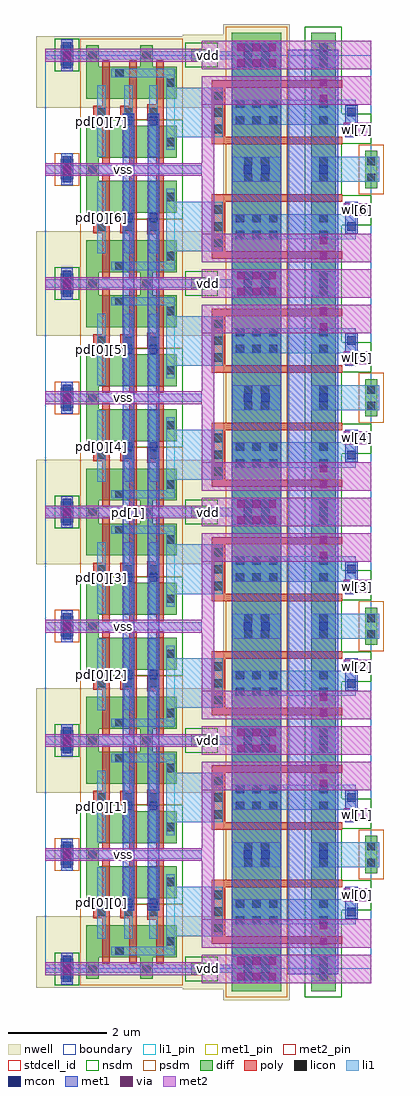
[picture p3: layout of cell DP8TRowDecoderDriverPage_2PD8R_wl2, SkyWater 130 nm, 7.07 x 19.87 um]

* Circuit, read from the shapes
.subckt DP8TRowDecoderDriverPage_2PD8R_wl2 pd[0][0] pd[0][1] pd[0][2] pd[0][3] pd[0][4] pd[0][5] pd[0][6] pd[0][7] pd[1] vdd vss wl[0] wl[1] wl[2] wl[3] wl[4] wl[5] wl[6] wl[7] wl_en
XM1 n1 pd[0][0] vss VSUBS sky130_fd_pr__nfet_01v8 w=0.65 l=0.15
XM2 n2 pd[0][1] vss VSUBS sky130_fd_pr__nfet_01v8 w=0.65 l=0.15
XM3 n3 pd[0][2] vss VSUBS sky130_fd_pr__nfet_01v8 w=0.65 l=0.15
XM4 n4 pd[0][3] vss VSUBS sky130_fd_pr__nfet_01v8 w=0.65 l=0.15
XM5 n5 pd[0][4] vss VSUBS sky130_fd_pr__nfet_01v8 w=0.65 l=0.15
XM6 n6 pd[0][5] vss VSUBS sky130_fd_pr__nfet_01v8 w=0.65 l=0.15
XM7 n7 pd[0][6] vss VSUBS sky130_fd_pr__nfet_01v8 w=0.65 l=0.15
XM8 n8 pd[0][7] vss VSUBS sky130_fd_pr__nfet_01v8 w=0.65 l=0.15
XM9 n9 pd[1] n1 VSUBS sky130_fd_pr__nfet_01v8 w=0.65 l=0.15
XM10 n10 pd[1] n2 VSUBS sky130_fd_pr__nfet_01v8 w=0.65 l=0.15
XM11 n11 pd[1] n3 VSUBS sky130_fd_pr__nfet_01v8 w=0.65 l=0.15
XM12 n12 pd[1] n4 VSUBS sky130_fd_pr__nfet_01v8 w=0.65 l=0.15
XM13 n13 pd[1] n5 VSUBS sky130_fd_pr__nfet_01v8 w=0.65 l=0.15
XM14 n14 pd[1] n6 VSUBS sky130_fd_pr__nfet_01v8 w=0.65 l=0.15
XM15 n15 pd[1] n7 VSUBS sky130_fd_pr__nfet_01v8 w=0.65 l=0.15
XM16 n16 pd[1] n8 VSUBS sky130_fd_pr__nfet_01v8 w=0.65 l=0.15
XM17 DP8TRowDecoderNand3_0/wl_n wl_en n9 VSUBS sky130_fd_pr__nfet_01v8 w=0.65 l=0.15
XM18 DP8TRowDecoderNand3_2/wl_n wl_en n10 VSUBS sky130_fd_pr__nfet_01v8 w=0.65 l=0.15
XM19 DP8TRowDecoderNand3_4/wl_n wl_en n11 VSUBS sky130_fd_pr__nfet_01v8 w=0.65 l=0.15
XM20 DP8TRowDecoderNand3_6/wl_n wl_en n12 VSUBS sky130_fd_pr__nfet_01v8 w=0.65 l=0.15
XM21 DP8TRowDecoderNand3_8/wl_n wl_en n13 VSUBS sky130_fd_pr__nfet_01v8 w=0.65 l=0.15
XM22 DP8TRowDecoderNand3_10/wl_n wl_en n14 VSUBS sky130_fd_pr__nfet_01v8 w=0.65 l=0.15
XM23 DP8TRowDecoderNand3_12/wl_n wl_en n15 VSUBS sky130_fd_pr__nfet_01v8 w=0.65 l=0.15
XM24 DP8TRowDecoderNand3_14/wl_n wl_en n16 VSUBS sky130_fd_pr__nfet_01v8 w=0.65 l=0.15
XM25 wl[0] DP8TRowDecoderNand3_0/wl_n vss VSUBS sky130_fd_pr__nfet_01v8 w=0.5 l=0.15 m=2
XM26 wl[1] DP8TRowDecoderNand3_2/wl_n vss VSUBS sky130_fd_pr__nfet_01v8 w=0.5 l=0.15 m=2
XM27 wl[2] DP8TRowDecoderNand3_4/wl_n vss VSUBS sky130_fd_pr__nfet_01v8 w=0.5 l=0.15 m=2
XM28 wl[3] DP8TRowDecoderNand3_6/wl_n vss VSUBS sky130_fd_pr__nfet_01v8 w=0.5 l=0.15 m=2
XM29 wl[4] DP8TRowDecoderNand3_8/wl_n vss VSUBS sky130_fd_pr__nfet_01v8 w=0.5 l=0.15 m=2
XM30 wl[5] DP8TRowDecoderNand3_10/wl_n vss VSUBS sky130_fd_pr__nfet_01v8 w=0.5 l=0.15 m=2
XM31 wl[6] DP8TRowDecoderNand3_12/wl_n vss VSUBS sky130_fd_pr__nfet_01v8 w=0.5 l=0.15 m=2
XM32 wl[7] DP8TRowDecoderNand3_14/wl_n vss VSUBS sky130_fd_pr__nfet_01v8 w=0.5 l=0.15 m=2
XM33 DP8TRowDecoderNand3_0/wl_n pd[0][0] vdd n17 sky130_fd_pr__pfet_01v8 w=0.65 l=0.15
XM34 DP8TRowDecoderNand3_2/wl_n pd[0][1] vdd n17 sky130_fd_pr__pfet_01v8 w=0.65 l=0.15
XM35 DP8TRowDecoderNand3_4/wl_n pd[0][2] vdd n17 sky130_fd_pr__pfet_01v8 w=0.65 l=0.15
XM36 DP8TRowDecoderNand3_6/wl_n pd[0][3] vdd n17 sky130_fd_pr__pfet_01v8 w=0.65 l=0.15
XM37 DP8TRowDecoderNand3_8/wl_n pd[0][4] vdd n17 sky130_fd_pr__pfet_01v8 w=0.65 l=0.15
XM38 DP8TRowDecoderNand3_10/wl_n pd[0][5] vdd n17 sky130_fd_pr__pfet_01v8 w=0.65 l=0.15
XM39 DP8TRowDecoderNand3_12/wl_n pd[0][6] vdd n17 sky130_fd_pr__pfet_01v8 w=0.65 l=0.15
XM40 DP8TRowDecoderNand3_14/wl_n pd[0][7] vdd n17 sky130_fd_pr__pfet_01v8 w=0.65 l=0.15
XM41 vdd pd[1] DP8TRowDecoderNand3_0/wl_n n17 sky130_fd_pr__pfet_01v8 w=0.65 l=0.15
XM42 vdd pd[1] DP8TRowDecoderNand3_2/wl_n n17 sky130_fd_pr__pfet_01v8 w=0.65 l=0.15
XM43 vdd pd[1] DP8TRowDecoderNand3_4/wl_n n17 sky130_fd_pr__pfet_01v8 w=0.65 l=0.15
XM44 vdd pd[1] DP8TRowDecoderNand3_6/wl_n n17 sky130_fd_pr__pfet_01v8 w=0.65 l=0.15
XM45 vdd pd[1] DP8TRowDecoderNand3_8/wl_n n17 sky130_fd_pr__pfet_01v8 w=0.65 l=0.15
XM46 vdd pd[1] DP8TRowDecoderNand3_10/wl_n n17 sky130_fd_pr__pfet_01v8 w=0.65 l=0.15
XM47 vdd pd[1] DP8TRowDecoderNand3_12/wl_n n17 sky130_fd_pr__pfet_01v8 w=0.65 l=0.15
XM48 vdd pd[1] DP8TRowDecoderNand3_14/wl_n n17 sky130_fd_pr__pfet_01v8 w=0.65 l=0.15
XM49 DP8TRowDecoderNand3_0/wl_n wl_en vdd n17 sky130_fd_pr__pfet_01v8 w=0.65 l=0.15
XM50 DP8TRowDecoderNand3_2/wl_n wl_en vdd n17 sky130_fd_pr__pfet_01v8 w=0.65 l=0.15
XM51 DP8TRowDecoderNand3_4/wl_n wl_en vdd n17 sky130_fd_pr__pfet_01v8 w=0.65 l=0.15
XM52 DP8TRowDecoderNand3_6/wl_n wl_en vdd n17 sky130_fd_pr__pfet_01v8 w=0.65 l=0.15
XM53 DP8TRowDecoderNand3_8/wl_n wl_en vdd n17 sky130_fd_pr__pfet_01v8 w=0.65 l=0.15
XM54 DP8TRowDecoderNand3_10/wl_n wl_en vdd n17 sky130_fd_pr__pfet_01v8 w=0.65 l=0.15
XM55 DP8TRowDecoderNand3_12/wl_n wl_en vdd n17 sky130_fd_pr__pfet_01v8 w=0.65 l=0.15
XM56 DP8TRowDecoderNand3_14/wl_n wl_en vdd n17 sky130_fd_pr__pfet_01v8 w=0.65 l=0.15
XM57 wl[0] DP8TRowDecoderNand3_0/wl_n vdd n17 sky130_fd_pr__pfet_01v8 w=1 l=0.15 m=2
XM58 wl[1] DP8TRowDecoderNand3_2/wl_n vdd n17 sky130_fd_pr__pfet_01v8 w=1 l=0.15 m=2
XM59 wl[2] DP8TRowDecoderNand3_4/wl_n vdd n17 sky130_fd_pr__pfet_01v8 w=1 l=0.15 m=2
XM60 wl[3] DP8TRowDecoderNand3_6/wl_n vdd n17 sky130_fd_pr__pfet_01v8 w=1 l=0.15 m=2
XM61 wl[4] DP8TRowDecoderNand3_8/wl_n vdd n17 sky130_fd_pr__pfet_01v8 w=1 l=0.15 m=2
XM62 wl[5] DP8TRowDecoderNand3_10/wl_n vdd n17 sky130_fd_pr__pfet_01v8 w=1 l=0.15 m=2
XM63 wl[6] DP8TRowDecoderNand3_12/wl_n vdd n17 sky130_fd_pr__pfet_01v8 w=1 l=0.15 m=2
XM64 wl[7] DP8TRowDecoderNand3_14/wl_n vdd n17 sky130_fd_pr__pfet_01v8 w=1 l=0.15 m=2
.ends

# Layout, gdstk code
import gdstk
lib = gdstk.Library(unit=1e-6, precision=1e-09)
def R(c, l, rs):  # rectangles x0, y0, x1, y1
    for r in rs: c.add(gdstk.rectangle(r[:2], r[2:], *l))
def A(c, l, x, y, w, h, nx, ny, dx, dy):  # array of equal rectangles
    R(c, l, [(x+i*dx, y+j*dy, x+i*dx+w, y+j*dy+h) for i in range(nx) for j in range(ny)])
def P(c, l, *ps):  # polygons
    for p in ps: c.add(gdstk.Polygon(p, *l))
nwell = (64, 20)
diff = (65, 20)
poly = (66, 20)
licon = (66, 44)
li1_pin = (67, 16)
li1 = (67, 20)
mcon = (67, 44)
met1_pin = (68, 16)
met1 = (68, 20)
via = (68, 44)
met2_pin = (69, 16)
met2 = (69, 20)
stdcell_id = (81, 4)
nsdm = (93, 44)
psdm = (94, 20)
boundary = (235, 4)

dp8trowdecodernand3 = lib.new_cell('DP8TRowDecoderNand3')
R(dp8trowdecodernand3, nwell, [(-0.18,1.26,4.02,2.71)])
R(dp8trowdecodernand3, diff, [(0.315,-0.205,0.565,0.205), (0.315,2.12,0.565,2.53)])
P(dp8trowdecodernand3, diff, [(0.835,-0.205),(0.835,0.885),(2.675,0.885),(2.675,0.235),(1.085,0.235),(1.085,-0.205)],
  [(0.835,1.44),(0.835,2.53),(1.085,2.53),(1.085,2.09),(1.935,2.09),(1.935,2.53),(2.185,2.53),(2.185,2.09),(2.675,2.09),(2.675,1.44)])
P(dp8trowdecodernand3, poly, [(1.16,0.105),(1.16,1.025),(0.98,1.025),(0.98,1.295),(1.16,1.295),(1.16,2.22),(1.31,2.22),(1.31,0.105)],
  [(1.71,0.105),(1.71,1.025),(1.53,1.025),(1.53,1.295),(1.71,1.295),(1.71,2.22),(1.86,2.22),(1.86,0.105)],
  [(2.26,0.105),(2.26,0.995),(2.07,0.995),(2.07,1.325),(2.26,1.325),(2.26,2.22),(2.41,2.22),(2.41,0.105)])
R(dp8trowdecodernand3, licon, [(0.355,-0.085,0.525,0.085), (0.875,-0.085,1.045,0.085), (2.465,0.475,2.635,0.645), (1.06,1.075,1.23,1.245), (1.61,1.075,1.78,1.245), (2.12,1.075,2.29,1.245), (2.465,1.68,2.635,1.85), (1.425,1.88,1.595,2.05), (0.355,2.24,0.525,2.41), (0.875,2.24,1.045,2.41), (1.975,2.24,2.145,2.41)])
R(dp8trowdecodernand3, li1_pin, [(1.06,0.255,1.23,1.71), (1.61,0.255,1.78,1.71), (2.12,0.255,2.29,1.71), (2.465,0.395,2.635,1.93)])
R(dp8trowdecodernand3, li1, [(1.06,0.255,1.23,1.71), (1.61,0.255,1.78,1.71), (2.12,0.255,2.29,1.71)])
P(dp8trowdecodernand3, li1, [(0.355,-0.265),(0.355,-0.085),(0,-0.085),(0,0.085),(0.355,0.085),(0.355,0.265),(0.525,0.265),(0.525,0.085),(3.18,0.085),(3.18,-0.085),(0.525,-0.085),(0.525,-0.265)],
  [(0.355,2.06),(0.355,2.24),(0,2.24),(0,2.41),(0.355,2.41),(0.355,2.59),(0.525,2.59),(0.525,2.41),(3.18,2.41),(3.18,2.24),(0.525,2.24),(0.525,2.06)],
  [(2.465,0.395),(2.465,1.88),(1.345,1.88),(1.345,2.05),(2.635,2.05),(2.635,0.395)])
R(dp8trowdecodernand3, mcon, [(0.355,-0.265,0.525,-0.095), (0.355,0.095,0.525,0.265), (0.355,2.06,0.525,2.23), (0.355,2.42,0.525,2.59)])
P(dp8trowdecodernand3, met1, [(0.325,-0.325),(0.325,-0.16),(0.31,-0.16),(0.31,0.16),(0.325,0.16),(0.325,0.325),(0.555,0.325),(0.555,0.16),(0.57,0.16),(0.57,-0.16),(0.555,-0.16),(0.555,-0.325)],
  [(0.325,2),(0.325,2.165),(0.31,2.165),(0.31,2.485),(0.325,2.485),(0.325,2.65),(0.555,2.65),(0.555,2.485),(0.57,2.485),(0.57,2.165),(0.555,2.165),(0.555,2)])
R(dp8trowdecodernand3, via, [(0.365,-0.075,0.515,0.075), (0.365,2.25,0.515,2.4)])
R(dp8trowdecodernand3, met2_pin, [(0,-0.13,3.18,0.13), (0,2.195,3.18,2.455)])
R(dp8trowdecodernand3, met2, [(0,-0.13,3.18,0.13), (0,2.195,3.18,2.455)])
A(dp8trowdecodernand3, stdcell_id, 1.155, 0.23, 0.16, 0.66, 3, 1, 0.55, 0)
R(dp8trowdecodernand3, nsdm, [(0.71,-0.33,2.8,1.01), (0.19,1.995,0.69,2.655)])
R(dp8trowdecodernand3, psdm, [(0.19,-0.33,0.69,0.33), (0.71,1.01,2.8,2.655)])
R(dp8trowdecodernand3, boundary, [(0,0,3.18,2.325)])
dp8trowdecodernand3.add(gdstk.Label('vss', (1.59,0), layer=69, texttype=16))
dp8trowdecodernand3.add(gdstk.Label('vdd', (1.59,2.325), layer=69, texttype=16))
dp8trowdecodernand3.add(gdstk.Label('pd[0]', (1.145,0.983), layer=67, texttype=16))
dp8trowdecodernand3.add(gdstk.Label('wl_n', (2.55,1.163), layer=67, texttype=16))
dp8trowdecodernand3.add(gdstk.Label('pd[1]', (1.695,0.983), layer=67, texttype=16))
dp8trowdecodernand3.add(gdstk.Label('wl_en', (2.205,0.983), layer=67, texttype=16))

dp8twldrive_30ln100wn30l = lib.new_cell('DP8TWLDrive_30LN100WN30LP200WP_wl2')
P(dp8twldrive_30ln100wn30l, nwell, [(-3.015,-0.635),(-3.015,1.905),(-3.84,1.905),(-3.84,2.745),(-3.015,2.745),(-3.015,2.96),(-1.655,2.96),(-1.655,-0.635)])
R(dp8twldrive_30ln100wn30l, diff, [(-2.835,-0.455,-1.835,2.78), (-1.225,-0.455,-0.725,2.78), (-0.125,-0.38,0.125,0.38), (-3.66,2.2,-3.25,2.45)])
P(dp8twldrive_30ln100wn30l, poly, [(-3.245,0.51),(-3.245,1.815),(-0.595,1.815),(-0.595,1.665),(-2.975,1.665),(-2.975,0.66),(-0.595,0.66),(-0.595,0.51)])
A(dp8twldrive_30ln100wn30l, licon, -3.195, 0.735, 0.17, 0.17, 1, 3, 0, 0.34)
A(dp8twldrive_30ln100wn30l, licon, -2.76, 0.91, 0.17, 0.17, 3, 2, 0.34, 0.34)
R(dp8twldrive_30ln100wn30l, licon, [(-2.59,-0.255,-2.42,-0.085), (-2.25,-0.255,-2.08,-0.085), (-1.06,-0.255,-0.89,-0.085), (-0.085,-0.255,0.085,-0.085), (-2.59,0.085,-2.42,0.255), (-2.25,0.085,-2.08,0.255), (-1.06,0.085,-0.89,0.255), (-0.085,0.085,0.085,0.255), (-1.06,0.91,-0.89,1.08), (-1.06,1.25,-0.89,1.42), (-2.59,2.07,-2.42,2.24), (-2.25,2.07,-2.08,2.24), (-1.06,2.07,-0.89,2.24), (-3.54,2.24,-3.37,2.41), (-2.59,2.41,-2.42,2.58), (-2.25,2.41,-2.08,2.58), (-1.06,2.41,-0.89,2.58)])
R(dp8twldrive_30ln100wn30l, li1_pin, [(-3.455,0.655,-3.025,1.665)])
R(dp8twldrive_30ln100wn30l, li1, [(-2.835,-0.255,-1.835,0.255), (-1.225,-0.255,0.165,0.255), (-3.455,0.655,-3.025,1.665), (-2.84,0.91,-0.315,1.42), (-1.225,2.07,-0.725,2.58)])
P(dp8twldrive_30ln100wn30l, li1, [(-2.835,2.07),(-2.835,2.24),(-3.62,2.24),(-3.62,2.41),(-2.835,2.41),(-2.835,2.58),(-1.835,2.58),(-1.835,2.07)])
R(dp8twldrive_30ln100wn30l, mcon, [(-2.6,-0.085,-2.43,0.085), (-2.24,-0.085,-2.07,0.085), (-1.06,-0.085,-0.89,0.085), (-0.485,1.08,-0.315,1.25), (-2.6,2.24,-2.43,2.41), (-2.24,2.24,-2.07,2.41), (-1.06,2.24,-0.89,2.41)])
R(dp8twldrive_30ln100wn30l, met1, [(-2.835,-0.115,-1.835,2.615), (-1.695,-0.115,-0.67,2.44), (-0.53,0.655,-0.27,1.31)])
A(dp8twldrive_30ln100wn30l, via, -2.73, 2.09, 0.15, 0.15, 3, 2, 0.32, 0.32)
R(dp8twldrive_30ln100wn30l, via, [(-0.475,0.74,-0.325,0.89), (-1.05,1.37,-0.9,1.52), (-1.05,1.69,-0.9,1.84)])
R(dp8twldrive_30ln100wn30l, met2_pin, [(-0.56,0.685,0,0.945), (-3.455,1.315,0,1.895), (-3.455,2.035,0,2.615)])
R(dp8twldrive_30ln100wn30l, met2, [(-0.56,0.685,0,0.945), (-3.455,1.315,0,1.895), (-3.455,2.035,0,2.615)])
R(dp8twldrive_30ln100wn30l, stdcell_id, [(-1.23,0.505,-0.72,0.665), (-1.23,1.66,-0.72,1.82)])
R(dp8twldrive_30ln100wn30l, nsdm, [(-3.785,2.075,-3.125,2.575)])
P(dp8twldrive_30ln100wn30l, nsdm, [(-1.35,-0.58),(-1.35,2.905),(-0.6,2.905),(-0.6,1.135),(0,1.135),(0,0.525),(-0.6,0.525),(-0.6,-0.58)])
R(dp8twldrive_30ln100wn30l, psdm, [(-0.25,-0.505,0.25,0.505)])
P(dp8twldrive_30ln100wn30l, psdm, [(-2.96,-0.58),(-2.96,0.51),(-3.245,0.51),(-3.245,1.81),(-2.96,1.81),(-2.96,2.905),(-1.71,2.905),(-1.71,-0.58)])
R(dp8twldrive_30ln100wn30l, boundary, [(-3.455,0,0,2.325)])
dp8twldrive_30ln100wn30l.add(gdstk.Label('vss', (-1.728,1.605), layer=69, texttype=16))
dp8twldrive_30ln100wn30l.add(gdstk.Label('wl_drive', (-0.28,0.815), layer=69, texttype=16))
dp8twldrive_30ln100wn30l.add(gdstk.Label('vdd', (-1.728,2.325), layer=69, texttype=16))
dp8twldrive_30ln100wn30l.add(gdstk.Label('wl_n', (-3.24,1.16), layer=67, texttype=16))

dp8trowdecoderdriverpage = lib.new_cell('DP8TRowDecoderDriverPage_2PD8R_wl2')
R(dp8trowdecoderdriverpage, li1_pin, [(1.06,0.615,1.23,2.07), (1.06,2.58,1.23,4.035), (1.06,5.265,1.23,6.72), (1.06,7.23,1.23,8.685), (1.06,9.915,1.23,11.37), (1.06,11.88,1.23,13.335), (1.06,14.565,1.23,16.02), (1.06,16.53,1.23,17.985)])
R(dp8trowdecoderdriverpage, li1, [(1.06,0.615,1.23,2.07), (2.465,0.66,3.61,1.67), (1.61,1.255,1.78,1.425), (2.12,1.255,2.29,1.425), (1.06,2.58,1.23,4.035), (2.465,2.98,3.61,3.99), (1.61,3.225,1.78,3.395), (2.12,3.225,2.29,3.395), (1.06,5.265,1.23,6.72), (2.465,5.31,3.61,6.32), (1.61,5.905,1.78,6.075), (2.12,5.905,2.29,6.075), (1.06,7.23,1.23,8.685), (2.465,7.63,3.61,8.64), (1.61,7.875,1.78,8.045), (2.12,7.875,2.29,8.045), (1.06,9.915,1.23,11.37), (2.465,9.96,3.61,10.97), (1.61,10.555,1.78,10.725), (2.12,10.555,2.29,10.725), (1.06,11.88,1.23,13.335), (2.465,12.28,3.61,13.29), (1.61,12.525,1.78,12.695), (2.12,12.525,2.29,12.695), (1.06,14.565,1.23,16.02), (2.465,14.61,3.61,15.62), (1.61,15.21,1.78,15.38), (2.12,15.21,2.29,15.38), (1.06,16.53,1.23,17.985), (2.465,16.93,3.61,17.94), (1.61,17.175,1.78,17.345), (2.12,17.175,2.29,17.345)])
R(dp8trowdecoderdriverpage, mcon, [(1.61,1.255,1.78,1.425), (2.12,1.255,2.29,1.425), (1.61,3.225,1.78,3.395), (2.12,3.225,2.29,3.395), (1.61,5.905,1.78,6.075), (2.12,5.905,2.29,6.075), (1.61,7.875,1.78,8.045), (2.12,7.875,2.29,8.045), (1.61,10.555,1.78,10.725), (2.12,10.555,2.29,10.725), (1.61,12.525,1.78,12.695), (2.12,12.525,2.29,12.695), (1.61,15.21,1.78,15.38), (2.12,15.21,2.29,15.38), (1.61,17.175,1.78,17.345), (2.12,17.175,2.29,17.345)])
R(dp8trowdecoderdriverpage, met1_pin, [(1.58,1.195,1.81,17.405), (2.09,1.195,2.32,17.405)])
R(dp8trowdecoderdriverpage, met1, [(1.58,1.195,1.81,17.405), (2.09,1.195,2.32,17.405)])
A(dp8trowdecoderdriverpage, met2_pin, 0, -0.13, 6.635, 0.26, 1, 5, 0, 4.65)
A(dp8trowdecoderdriverpage, met2_pin, 0, 2.195, 3.18, 0.26, 1, 4, 0, 4.65)
R(dp8trowdecoderdriverpage, met2_pin, [(6.075,1.38,6.635,1.64), (6.075,3.01,6.635,3.27), (6.075,6.03,6.635,6.29), (6.075,7.66,6.635,7.92), (6.075,10.68,6.635,10.94), (6.075,12.31,6.635,12.57), (6.075,15.33,6.635,15.59), (6.075,16.96,6.635,17.22)])
A(dp8trowdecoderdriverpage, met2, 0, -0.13, 6.635, 0.26, 1, 5, 0, 4.65)
R(dp8trowdecoderdriverpage, met2, [(6.075,1.38,6.635,1.64), (6.075,3.01,6.635,3.27), (6.075,6.03,6.635,6.29), (6.075,7.66,6.635,7.92), (6.075,10.68,6.635,10.94), (6.075,12.31,6.635,12.57), (6.075,15.33,6.635,15.59), (6.075,16.96,6.635,17.22)])
P(dp8trowdecoderdriverpage, met2, [(3.18,9.73),(3.18,11.495),(0,11.495),(0,11.755),(3.18,11.755),(3.18,13.52),(6.635,13.52),(6.635,12.94),(3.44,12.94),(3.44,10.31),(6.635,10.31),(6.635,9.73)],
  [(3.18,14.38),(3.18,16.145),(0,16.145),(0,16.405),(3.18,16.405),(3.18,18.17),(6.635,18.17),(6.635,17.59),(3.44,17.59),(3.44,14.96),(6.635,14.96),(6.635,14.38)],
  [(3.18,5.08),(3.18,6.845),(0,6.845),(0,7.105),(3.18,7.105),(3.18,8.87),(6.635,8.87),(6.635,8.29),(3.44,8.29),(3.44,5.66),(6.635,5.66),(6.635,5.08)],
  [(3.18,0.43),(3.18,2.195),(0,2.195),(0,2.455),(3.18,2.455),(3.18,4.22),(6.635,4.22),(6.635,3.64),(3.44,3.64),(3.44,1.01),(6.635,1.01),(6.635,0.43)])
R(dp8trowdecoderdriverpage, boundary, [(0,0,6.635,18.6)])
dp8trowdecoderdriverpage.add(gdstk.Reference(dp8trowdecodernand3, (0,2.325), x_reflection=True))
dp8trowdecoderdriverpage.add(gdstk.Reference(dp8twldrive_30ln100wn30l, (6.635,2.325), x_reflection=True))
dp8trowdecoderdriverpage.add(gdstk.Reference(dp8trowdecodernand3, (0,2.325)))
dp8trowdecoderdriverpage.add(gdstk.Reference(dp8twldrive_30ln100wn30l, (6.635,2.325)))
dp8trowdecoderdriverpage.add(gdstk.Reference(dp8trowdecodernand3, (0,6.975), x_reflection=True))
dp8trowdecoderdriverpage.add(gdstk.Reference(dp8twldrive_30ln100wn30l, (6.635,6.975), x_reflection=True))
dp8trowdecoderdriverpage.add(gdstk.Reference(dp8trowdecodernand3, (0,6.975)))
dp8trowdecoderdriverpage.add(gdstk.Reference(dp8twldrive_30ln100wn30l, (6.635,6.975)))
dp8trowdecoderdriverpage.add(gdstk.Reference(dp8trowdecodernand3, (0,11.625), x_reflection=True))
dp8trowdecoderdriverpage.add(gdstk.Reference(dp8twldrive_30ln100wn30l, (6.635,11.625), x_reflection=True))
dp8trowdecoderdriverpage.add(gdstk.Reference(dp8trowdecodernand3, (0,11.625)))
dp8trowdecoderdriverpage.add(gdstk.Reference(dp8twldrive_30ln100wn30l, (6.635,11.625)))
dp8trowdecoderdriverpage.add(gdstk.Reference(dp8trowdecodernand3, (0,16.275), x_reflection=True))
dp8trowdecoderdriverpage.add(gdstk.Reference(dp8twldrive_30ln100wn30l, (6.635,16.275), x_reflection=True))
dp8trowdecoderdriverpage.add(gdstk.Reference(dp8trowdecodernand3, (0,16.275)))
dp8trowdecoderdriverpage.add(gdstk.Reference(dp8twldrive_30ln100wn30l, (6.635,16.275)))
dp8trowdecoderdriverpage.add(gdstk.Label('wl[0]', (6.355,1.51), layer=69, texttype=16))
dp8trowdecoderdriverpage.add(gdstk.Label('vdd', (3.318,4.65), layer=69, texttype=16))
dp8trowdecoderdriverpage.add(gdstk.Label('vdd', (3.318,9.3), layer=69, texttype=16))
dp8trowdecoderdriverpage.add(gdstk.Label('vdd', (3.318,18.6), layer=69, texttype=16))
dp8trowdecoderdriverpage.add(gdstk.Label('vdd', (3.318,0), layer=69, texttype=16))
dp8trowdecoderdriverpage.add(gdstk.Label('vdd', (3.318,13.95), layer=69, texttype=16))
dp8trowdecoderdriverpage.add(gdstk.Label('wl[1]', (6.355,3.14), layer=69, texttype=16))
dp8trowdecoderdriverpage.add(gdstk.Label('vss', (1.59,11.625), layer=69, texttype=16))
dp8trowdecoderdriverpage.add(gdstk.Label('vss', (1.59,2.325), layer=69, texttype=16))
dp8trowdecoderdriverpage.add(gdstk.Label('vss', (1.59,6.975), layer=69, texttype=16))
dp8trowdecoderdriverpage.add(gdstk.Label('vss', (1.59,16.275), layer=69, texttype=16))
dp8trowdecoderdriverpage.add(gdstk.Label('wl[2]', (6.355,6.16), layer=69, texttype=16))
dp8trowdecoderdriverpage.add(gdstk.Label('wl[3]', (6.355,7.79), layer=69, texttype=16))
dp8trowdecoderdriverpage.add(gdstk.Label('wl[4]', (6.355,10.81), layer=69, texttype=16))
dp8trowdecoderdriverpage.add(gdstk.Label('wl[5]', (6.355,12.44), layer=69, texttype=16))
dp8trowdecoderdriverpage.add(gdstk.Label('wl[6]', (6.355,15.46), layer=69, texttype=16))
dp8trowdecoderdriverpage.add(gdstk.Label('wl[7]', (6.355,17.09), layer=69, texttype=16))
dp8trowdecoderdriverpage.add(gdstk.Label('pd[1]', (1.695,9.3), layer=68, texttype=16))
dp8trowdecoderdriverpage.add(gdstk.Label('wl_en', (2.205,9.3), layer=68, texttype=16))
dp8trowdecoderdriverpage.add(gdstk.Label('pd[0][0]', (1.145,1.343), layer=67, texttype=16))
dp8trowdecoderdriverpage.add(gdstk.Label('pd[0][1]', (1.145,3.308), layer=67, texttype=16))
dp8trowdecoderdriverpage.add(gdstk.Label('pd[0][2]', (1.145,5.993), layer=67, texttype=16))
dp8trowdecoderdriverpage.add(gdstk.Label('pd[0][3]', (1.145,7.958), layer=67, texttype=16))
dp8trowdecoderdriverpage.add(gdstk.Label('pd[0][4]', (1.145,10.643), layer=67, texttype=16))
dp8trowdecoderdriverpage.add(gdstk.Label('pd[0][5]', (1.145,12.608), layer=67, texttype=16))
dp8trowdecoderdriverpage.add(gdstk.Label('pd[0][6]', (1.145,15.293), layer=67, texttype=16))
dp8trowdecoderdriverpage.add(gdstk.Label('pd[0][7]', (1.145,17.258), layer=67, texttype=16))

lib.write_gds('DP8TRowDecoderDriverPage_2PD8R_wl2.gds')
